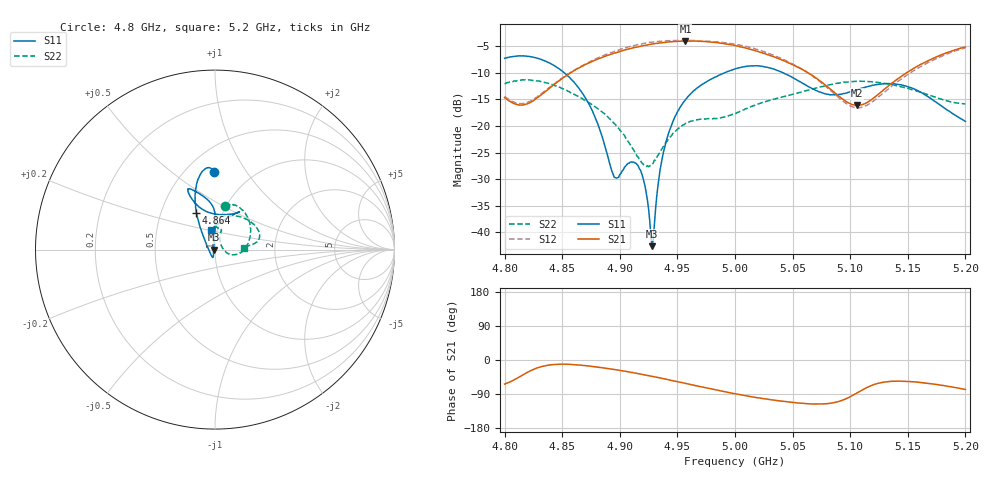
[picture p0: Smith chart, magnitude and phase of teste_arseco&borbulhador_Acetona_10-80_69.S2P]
! Network Analyzer HP8722D
! Hewlett-Packard
! Data name: Linha & Wilkinson
! Saver's name: Rodrigo Anjos
! Comments: Teste da utilização de aquisição
! continua pelo VNA HP8722D
! Time and date: 25/4/2025 15:50
!  Frequency  S11  S21  S12  S22
# HZ  S  MA R 50
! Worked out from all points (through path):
!   401 points, 4.8 GHz to 5.2 GHz, reference 50 ohm
!   highest |S21| = -3.96 dB at 4.957 GHz (marker M1); lowest = -16.1 dB at 5.106 GHz (marker M2)
!   lowest |S11| = -42.7 dB at 4.928 GHz (marker M3), VSWR 1.01, Z = 49.3 - j0.113 ohm
!   |S11| at or under -10 dB: 4.852 GHz to 4.991 GHz (138.7 MHz wide, 2.82 % of centre); 5.042 GHz to end of sweep
!   |S22| runs from -27.7 to -11.3 dB; largest |S21 - S12| = 1.2
!   S11 on the Smith chart (normalised r, x): 4.8 GHz: 0.68, +0.73; 4.864 GHz: 0.75, +0.33; 5.2 GHz: 0.94, +0.21
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4.8e9  0.4343 90.5  0.1855 -63.5  0.1903 69.9  0.2502 76.9
4.82e9  0.4529 96.8  0.1621 -32.1  0.1677 98.7  0.2711 61.8
4.843e9  0.3714 106.2  0.2465 -11.9  0.2496 118.8  0.2424 36.6
4.864e9  0.2307 116.6  0.3502 -12.9  0.3537 120.9  0.1891 11.9
4.867e9  0.2079 118.3  0.3647 -13.9  0.3687 120.6  0.1825 8.4
4.88e9  0.1106 128.8  0.4241 -18.5  0.4339 118.1  0.1481 -5.5
4.895e9  0.0331 -172.8  0.4865 -24.9  0.5037 113.7  0.1059 -15.7
4.909e9  0.04562 -107.7  0.5361 -32.1  0.5626 107.5  0.06691 -14.7
4.917e9  0.03951 -103.4  0.5619 -36.6  0.5905 103.4  0.04793 -1.1
4.922e9  0.02689 -107.2  0.5748 -39.5  0.6037 100.6  0.04178 16.4
4.928e9  0.007366 -171.0  0.5937 -43.1  0.6185 96.9  0.04346 41.0
4.93e9  0.01175 125.8  0.597 -44.4  0.619 95.6  0.04757 48.6
4.934e9  0.0325 99.9  0.6054 -46.9  0.6297 93.1  0.05463 58.3
4.943e9  0.08982 90.8  0.6199 -52.6  0.6378 87.4  0.07714 69.0
4.957e9  0.1777 89.3  0.6337 -61.7  0.6393 78.4  0.1057 71.2
5e9  0.3451 109.0  0.5736 -89.1  0.5916 50.7  0.1312 88.5
5.03e9  0.3536 115.2  0.463 -104.5  0.4807 33.7  0.1742 85.2
5.067e9  0.2255 104.8  0.3003 -115.9  0.297 23.6  0.2227 57.0
5.106e9  0.2194 64.4  0.1565 -86.6  0.1484 56.3  0.2636 24.6
5.134e9  0.2507 57.0  0.2428 -56.8  0.2277 88.7  0.2479 12.3
5.168e9  0.1877 69.1  0.4143 -61.9  0.3978 85.1  0.1957 6.9
5.2e9  0.1104 100.5  0.5556 -77.8  0.5453 70.1  0.1613 3.8
